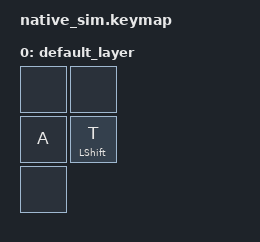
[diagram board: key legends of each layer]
#include <dt-bindings/zmk/keys.h>
#include <behaviors.dtsi>
#include <dt-bindings/zmk/input_mock.h>
#include <dt-bindings/zmk/matrix_transform.h>


#define ZMK_COMBO(name, combo_bindings, keypos, combo_term) \
/ { \
    combos { \
        compatible = "zmk,combos"; \
        combo_ ## name { \
            key-positions = <keypos>; \
            bindings = <combo_bindings>; \
            timeout-ms = <combo_term>; \
        }; \
    }; \
};

ZMK_COMBO(qmark, &kp QMARK,     0 3, 30)
ZMK_COMBO(dllr,  &kp DLLR,      1 3, 50)
ZMK_COMBO(tilde, &kp TILDE,     3 4, 50)

/ {
    keymap {
        compatible = "zmk,keymap";

        default_layer {
            bindings = <
            &none         &none
            &kp A         &mt LSHFT T
            &none
            >;
        };
    };
};

&matrix_transform {
    columns = <2>;
    rows = <3>;
    map = <
        RC(0,0) RC(0,1)
        RC(1,0) RC(1,1)
        RC(2,0) RC(2,1)
    >;
};

&mock_input {
    events = <
    ZMK_INPUT_MOCK_PRESS(1,1,500)
    ZMK_INPUT_MOCK_PRESS(1,0,100)
    ZMK_INPUT_MOCK_RELEASE(1,0,500)
    ZMK_INPUT_MOCK_RELEASE(1,1,10)
    >;
};
